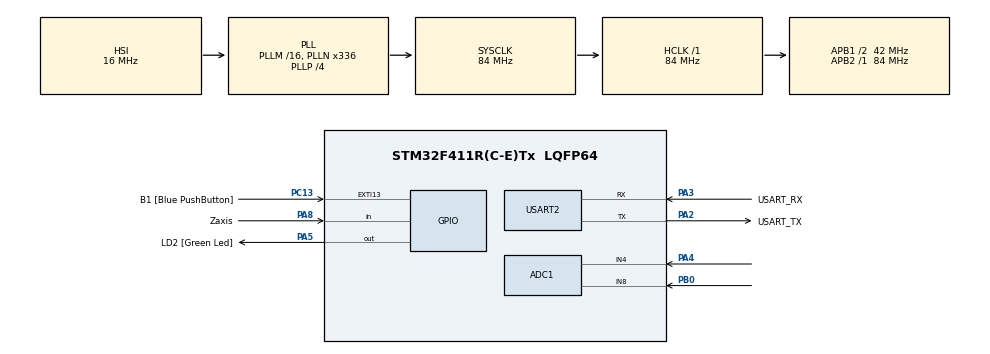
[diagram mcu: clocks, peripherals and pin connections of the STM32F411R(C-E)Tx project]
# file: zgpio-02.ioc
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ADC1.Channel-2\#ChannelRegularConversion=ADC_CHANNEL_4
ADC1.Channel-4\#ChannelRegularConversion=ADC_CHANNEL_8
ADC1.ContinuousConvMode=ENABLE
ADC1.DMAContinuousRequests=DISABLE
ADC1.DiscontinuousConvMode=DISABLE
ADC1.EOCSelection=ADC_EOC_SINGLE_CONV
ADC1.ExternalTrigConv=ADC_SOFTWARE_START
ADC1.ExternalTrigConvEdge=ADC_EXTERNALTRIGCONVEDGE_NONE
ADC1.NbrOfConversion=2
ADC1.NbrOfConversionFlag=1
ADC1.Rank-2\#ChannelRegularConversion=1
ADC1.Rank-4\#ChannelRegularConversion=2
ADC1.SamplingTime-2\#ChannelRegularConversion=ADC_SAMPLETIME_480CYCLES
ADC1.SamplingTime-4\#ChannelRegularConversion=ADC_SAMPLETIME_480CYCLES
ADC1.master=1
Mcu.Family=STM32F4
Mcu.Name=STM32F411R(C-E)Tx
Mcu.Package=LQFP64
NVIC.ADC_IRQn=true\:0\:0\:false\:false\:true\:true\:true\:true
NVIC.PriorityGroup=NVIC_PRIORITYGROUP_0
PA13.GPIO_Label=TMS
PA13.Mode=Serial_Wire
PA13.Signal=SYS_JTMS-SWDIO
PA14.GPIO_Label=TCK
PA14.Mode=Serial_Wire
PA14.Signal=SYS_JTCK-SWCLK
PA2.GPIO_Label=USART_TX
PA2.Mode=Asynchronous
PA2.Signal=USART2_TX
PA3.GPIO_Label=USART_RX
PA3.Mode=Asynchronous
PA3.Signal=USART2_RX
PA4.Signal=ADCx_IN4
PA5.GPIO_Label=LD2 [Green Led]
PA5.Signal=GPIO_Output
PA8.GPIO_Label=Zaxis
PA8.GPIO_PuPd=GPIO_PULLUP
PA8.Signal=GPIO_Input
PB0.Signal=ADCx_IN8
PB3.GPIO_Label=SWO
PB3.Signal=SYS_JTDO-SWO
PC13-ANTI_TAMP.GPIO_Label=B1 [Blue PushButton]
PC13-ANTI_TAMP.GPIO_ModeDefaultEXTI=GPIO_MODE_IT_FALLING
PC13-ANTI_TAMP.Signal=GPXTI13
PC14-OSC32_IN.Mode=LSE-External-Oscillator
PC14-OSC32_IN.Signal=RCC_OSC32_IN
PC15-OSC32_OUT.Mode=LSE-External-Oscillator
PC15-OSC32_OUT.Signal=RCC_OSC32_OUT
PH0\ -\ OSC_IN.Mode=HSE-External-Clock-Source
PH0\ -\ OSC_IN.Signal=RCC_OSC_IN
PH1\ -\ OSC_OUT.Mode=HSE-External-Clock-Source
PH1\ -\ OSC_OUT.Signal=RCC_OSC_OUT
ProjectManager.HeapSize=0x200
ProjectManager.StackSize=0x400
ProjectManager.TargetToolchain=STM32CubeIDE
RCC.48MHZClocksFreq_Value=84000000
RCC.AHBFreq_Value=84000000
RCC.APB1CLKDivider=RCC_HCLK_DIV2
RCC.APB1Freq_Value=42000000
RCC.APB1TimFreq_Value=84000000
RCC.APB2Freq_Value=84000000
RCC.APB2TimFreq_Value=84000000
RCC.CortexFreq_Value=84000000
RCC.FLatency-AdvancedSettings=FLASH_LATENCY_2
RCC.HCLKFreq_Value=84000000
RCC.HSE_VALUE=8000000
RCC.HSI_VALUE=16000000
RCC.PLLN=336
RCC.PLLP=RCC_PLLP_DIV4
RCC.SYSCLKFreq_VALUE=84000000
RCC.SYSCLKSource=RCC_SYSCLKSOURCE_PLLCLK
RCC.VCOOutputFreq_Value=336000000
SH.ADCx_IN4.0=ADC1_IN4,IN4
SH.ADCx_IN8.0=ADC1_IN8,IN8
USART2.VirtualMode=VM_ASYNC
VP_TIM2_VS_ClockSourceINT.Mode=Internal
board=NUCLEO-F411RE

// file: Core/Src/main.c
/* USER CODE BEGIN Header */
/**
  ******************************************************************************
  * @file           : main.c
  * @brief          : Main program body
  ******************************************************************************
  * @attention
  *
  * Copyright (c) 2023 STMicroelectronics.
  * All rights reserved.
  *
  * This software is licensed under terms that can be found in the LICENSE file
  * in the root directory of this software component.
  * If no LICENSE file comes with this software, it is provided AS-IS.
  *
  ******************************************************************************
  */
/* USER CODE END Header */
#include "main.h"

ADC_HandleTypeDef hadc1;

TIM_HandleTypeDef htim2;

UART_HandleTypeDef huart2;

/* USER CODE BEGIN PV */
#include "../../../myLib/myLib.c"
/* USER CODE END PV */

void SystemClock_Config(void);
static void MX_GPIO_Init(void);
static void MX_USART2_UART_Init(void);
static void MX_ADC1_Init(void);
static void MX_TIM2_Init(void);

/* USER CODE BEGIN 0 */

//void myDelay(int ms)
//{
//  for (int j = 0; j < ms; j++)
//  {
//    for (int i = 0; i < 100; i++)
//      no0p();
//  }
//}

int GetAdcValue()
{
  HAL_ADC_Start (&hadc1);      //start sampling
  HAL_ADC_PollForConversion (&hadc1, 100);  //wait
  int val = HAL_ADC_GetValue (&hadc1);     //get
  return val;
}
//short dValue[2];
int xvalue =-1;
int yvalue =-1;
int n=0;
//void no0p(){}
void HAL_ADC_ConvCpltCallback(ADC_HandleTypeDef* hadc)
{
   int value = HAL_ADC_GetValue (&hadc1);     //get

    printf ("X Value : %d\r\n", value);
    printf ("Y Value : %d\r\n", value);
    printf ("Z Value : %d\r\n", HAL_GPIO_ReadPin (Zaxis_GPIO_Port, Zaxis_Pin));

//  myDelay(2000);
//  HAL_ADC_Start_IT (&hadc1);

}

/* USER CODE END 0 */

int main(void)
{

  /* MCU Configuration--------------------------------------------------------*/

  /* Reset of all peripherals, Initializes the Flash interface and the Systick. */
  HAL_Init();

  /* Configure the system clock */
  SystemClock_Config();

  /* Initialize all configured peripherals */
  MX_GPIO_Init();
  MX_USART2_UART_Init();
  MX_ADC1_Init();
  MX_TIM2_Init();
  /* USER CODE BEGIN 2 */

//  HAL_TIM_Base_Start(&htim3);
//  HAL_ADC_Start_DMA(&hadc1,(int *)dValue,2);
  HAL_ADC_Start_IT (&hadc1);

  /* USER CODE END 2 */

  /* Infinite loop */
  while (1)
  {

    /* USER CODE BEGIN 3 */
//    printf ("X Value : %d\r\n", dValue[0]);
//    printf ("Y Value : %d\r\n", dValue[1]);
//    printf ("Z Value : %d\r\n\n", HAL_GPIO_ReadPin (Zaxis_GPIO_Port, Zaxis_Pin));
//    HAL_Delay(500);
  }
  /* USER CODE END 3 */
}

void SystemClock_Config(void)
{
  RCC_OscInitTypeDef RCC_OscInitStruct = {0};
  RCC_ClkInitTypeDef RCC_ClkInitStruct = {0};

  /** Configure the main internal regulator output voltage
  */
  __HAL_RCC_PWR_CLK_ENABLE();
  __HAL_PWR_VOLTAGESCALING_CONFIG(PWR_REGULATOR_VOLTAGE_SCALE1);

  /** Initializes the RCC Oscillators according to the specified parameters
  * in the RCC_OscInitTypeDef structure.
  */
  RCC_OscInitStruct.OscillatorType = RCC_OSCILLATORTYPE_HSI;
  RCC_OscInitStruct.HSIState = RCC_HSI_ON;
  RCC_OscInitStruct.HSICalibrationValue = RCC_HSICALIBRATION_DEFAULT;
  RCC_OscInitStruct.PLL.PLLState = RCC_PLL_ON;
  RCC_OscInitStruct.PLL.PLLSource = RCC_PLLSOURCE_HSI;
  RCC_OscInitStruct.PLL.PLLM = 16;
  RCC_OscInitStruct.PLL.PLLN = 336;
  RCC_OscInitStruct.PLL.PLLP = RCC_PLLP_DIV4;
  RCC_OscInitStruct.PLL.PLLQ = 4;
  if (HAL_RCC_OscConfig(&RCC_OscInitStruct) != HAL_OK)
  {
    Error_Handler();
  }

  /** Initializes the CPU, AHB and APB buses clocks
  */
  RCC_ClkInitStruct.ClockType = RCC_CLOCKTYPE_HCLK|RCC_CLOCKTYPE_SYSCLK
                              |RCC_CLOCKTYPE_PCLK1|RCC_CLOCKTYPE_PCLK2;
  RCC_ClkInitStruct.SYSCLKSource = RCC_SYSCLKSOURCE_PLLCLK;
  RCC_ClkInitStruct.AHBCLKDivider = RCC_SYSCLK_DIV1;
  RCC_ClkInitStruct.APB1CLKDivider = RCC_HCLK_DIV2;
  RCC_ClkInitStruct.APB2CLKDivider = RCC_HCLK_DIV1;

  if (HAL_RCC_ClockConfig(&RCC_ClkInitStruct, FLASH_LATENCY_2) != HAL_OK)
  {
    Error_Handler();
  }
}

static void MX_ADC1_Init(void)
{

  ADC_ChannelConfTypeDef sConfig = {0};

  /** Configure the global features of the ADC (Clock, Resolution, Data Alignment and number of conversion)
  */
  hadc1.Instance = ADC1;
  hadc1.Init.ClockPrescaler = ADC_CLOCK_SYNC_PCLK_DIV4;
  hadc1.Init.Resolution = ADC_RESOLUTION_12B;
  hadc1.Init.ScanConvMode = ENABLE;
  hadc1.Init.ContinuousConvMode = ENABLE;
  hadc1.Init.DiscontinuousConvMode = DISABLE;
  hadc1.Init.ExternalTrigConvEdge = ADC_EXTERNALTRIGCONVEDGE_NONE;
  hadc1.Init.ExternalTrigConv = ADC_SOFTWARE_START;
  hadc1.Init.DataAlign = ADC_DATAALIGN_RIGHT;
  hadc1.Init.NbrOfConversion = 2;
  hadc1.Init.DMAContinuousRequests = DISABLE;
  hadc1.Init.EOCSelection = ADC_EOC_SINGLE_CONV;
  if (HAL_ADC_Init(&hadc1) != HAL_OK)
  {
    Error_Handler();
  }

  /** Configure for the selected ADC regular channel its corresponding rank in the sequencer and its sample time.
  */
  sConfig.Channel = ADC_CHANNEL_4;
  sConfig.Rank = 1;
  sConfig.SamplingTime = ADC_SAMPLETIME_480CYCLES;
  if (HAL_ADC_ConfigChannel(&hadc1, &sConfig) != HAL_OK)
  {
    Error_Handler();
  }

  /** Configure for the selected ADC regular channel its corresponding rank in the sequencer and its sample time.
  */
  sConfig.Channel = ADC_CHANNEL_8;
  sConfig.Rank = 2;
  if (HAL_ADC_ConfigChannel(&hadc1, &sConfig) != HAL_OK)
  {
    Error_Handler();
  }

}

static void MX_TIM2_Init(void)
{

  TIM_ClockConfigTypeDef sClockSourceConfig = {0};
  TIM_MasterConfigTypeDef sMasterConfig = {0};

  htim2.Instance = TIM2;
  htim2.Init.Prescaler = 0;
  htim2.Init.CounterMode = TIM_COUNTERMODE_UP;
  htim2.Init.Period = 4294967295;
  htim2.Init.ClockDivision = TIM_CLOCKDIVISION_DIV1;
  htim2.Init.AutoReloadPreload = TIM_AUTORELOAD_PRELOAD_DISABLE;
  if (HAL_TIM_Base_Init(&htim2) != HAL_OK)
  {
    Error_Handler();
  }
  sClockSourceConfig.ClockSource = TIM_CLOCKSOURCE_INTERNAL;
  if (HAL_TIM_ConfigClockSource(&htim2, &sClockSourceConfig) != HAL_OK)
  {
    Error_Handler();
  }
  sMasterConfig.MasterOutputTrigger = TIM_TRGO_RESET;
  sMasterConfig.MasterSlaveMode = TIM_MASTERSLAVEMODE_DISABLE;
  if (HAL_TIMEx_MasterConfigSynchronization(&htim2, &sMasterConfig) != HAL_OK)
  {
    Error_Handler();
  }

}

static void MX_USART2_UART_Init(void)
{

  huart2.Instance = USART2;
  huart2.Init.BaudRate = 115200;
  huart2.Init.WordLength = UART_WORDLENGTH_8B;
  huart2.Init.StopBits = UART_STOPBITS_1;
  huart2.Init.Parity = UART_PARITY_NONE;
  huart2.Init.Mode = UART_MODE_TX_RX;
  huart2.Init.HwFlowCtl = UART_HWCONTROL_NONE;
  huart2.Init.OverSampling = UART_OVERSAMPLING_16;
  if (HAL_UART_Init(&huart2) != HAL_OK)
  {
    Error_Handler();
  }

}

static void MX_GPIO_Init(void)
{
  GPIO_InitTypeDef GPIO_InitStruct = {0};

  /* GPIO Ports Clock Enable */
  __HAL_RCC_GPIOC_CLK_ENABLE();
  __HAL_RCC_GPIOH_CLK_ENABLE();
  __HAL_RCC_GPIOA_CLK_ENABLE();
  __HAL_RCC_GPIOB_CLK_ENABLE();

  /*Configure GPIO pin Output Level */
  HAL_GPIO_WritePin(LD2_GPIO_Port, LD2_Pin, GPIO_PIN_RESET);

  /*Configure GPIO pin : B1_Pin */
  GPIO_InitStruct.Pin = B1_Pin;
  GPIO_InitStruct.Mode = GPIO_MODE_IT_FALLING;
  GPIO_InitStruct.Pull = GPIO_NOPULL;
  HAL_GPIO_Init(B1_GPIO_Port, &GPIO_InitStruct);

  /*Configure GPIO pin : LD2_Pin */
  GPIO_InitStruct.Pin = LD2_Pin;
  GPIO_InitStruct.Mode = GPIO_MODE_OUTPUT_PP;
  GPIO_InitStruct.Pull = GPIO_NOPULL;
  GPIO_InitStruct.Speed = GPIO_SPEED_FREQ_LOW;
  HAL_GPIO_Init(LD2_GPIO_Port, &GPIO_InitStruct);

  /*Configure GPIO pin : Zaxis_Pin */
  GPIO_InitStruct.Pin = Zaxis_Pin;
  GPIO_InitStruct.Mode = GPIO_MODE_INPUT;
  GPIO_InitStruct.Pull = GPIO_PULLUP;
  HAL_GPIO_Init(Zaxis_GPIO_Port, &GPIO_InitStruct);

}

void Error_Handler(void)
{
  __disable_irq();
  while (1)
  {
  }
}
